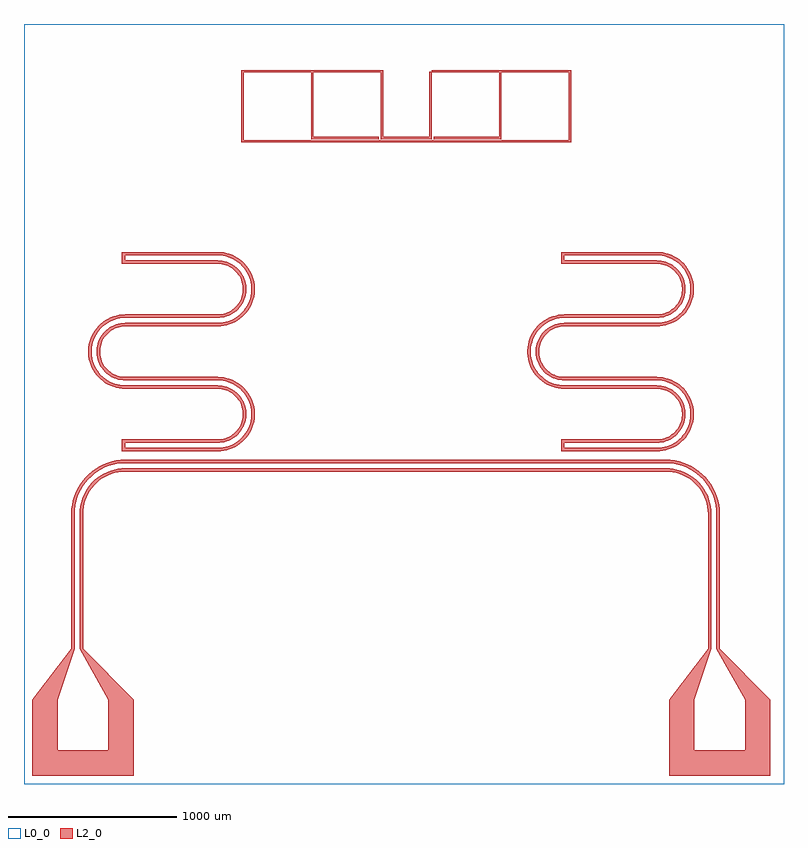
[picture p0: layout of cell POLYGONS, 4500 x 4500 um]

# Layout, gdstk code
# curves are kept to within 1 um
import gdstk
lib = gdstk.Library(unit=1e-6, precision=1e-09)
def R(c, l, rs):  # rectangles x0, y0, x1, y1
    for r in rs: c.add(gdstk.rectangle(r[:2], r[2:], *l))
def P(c, l, *ps):  # polygons
    for p in ps: c.add(gdstk.Polygon(p, *l))
L0_0 = (0, 0)
L2_0 = (2, 0)

polygons = lib.new_cell('POLYGONS')
R(polygons, L0_0, [(0,0,4500,4500)])
R(polygons, L2_0, [(50,50,650,200), (3820,50,4420,200), (50,200,200,500), (500,200,650,500), (3820,200,3970,500), (4270,200,4420,500), (280,800,300,1600), (330,800,350,1600), (4050,800,4070,1600), (4100,800,4120,1600), (600,1850,3800,1870), (600,1900,3800,1920), (580,1970,600,2040), (600,1970,1146.433,1990), (3180,1970,3200,2040), (3200,1970,3746.433,1990), (600,2020,1146.433,2040), (3200,2020,3746.433,2040), (600,2340,1146.433,2360), (3200,2340,3746.433,2360), (600,2390,1146.433,2410), (3200,2390,3746.433,2410), (600,2710,1146.433,2730), (3200,2710,3746.433,2730), (600,2760,1146.433,2780), (3200,2760,3746.433,2780), (580,3080,600,3150), (600,3080,1146.433,3100), (3180,3080,3200,3150), (3200,3080,3746.433,3100), (600,3130,1146.433,3150), (3200,3130,3746.433,3150), (1287,3800,3239,3813), (1287,3813,1300,4213), (3226,3813,3239,4218), (1700,3818,1713,4213), (1713,3818,2100,3831), (2113,3818,2126,4218), (2126,3818,2400,3831), (2400,3818,2413,4218), (2426,3818,2813,3831), (2813,3818,2826,4218), (1287,4213,2126,4226), (2413,4213,3239,4226)])
P(polygons, L2_0, [(50,500),(200,500),(300,800),(280,800)],
  [(500,500),(650,500),(350,800),(330,800)],
  [(600,1850),(558.851,1846.59),(518.825,1836.454),(499.576,1828.943),(463.263,1809.292),(430.68,1783.931),(416.069,1769.32),(390.708,1736.737),(371.057,1700.424),(357.65,1661.371),(350.854,1620.645),(350,1600),(330,1600),(333.682,1644.441),(344.629,1687.669),(352.741,1708.458),(373.965,1747.676),(386.932,1765.837),(417.134,1798.645),(452.324,1826.035),(471.494,1837.458),(512.331,1855.371),(533.719,1861.738),(555.559,1866.318),(600,1870)],
  [(600,1900),(575.226,1898.975),(550.622,1895.908),(526.354,1890.82),(502.59,1883.745),(479.491,1874.732),(457.216,1863.842),(435.916,1851.15),(415.736,1836.742),(396.816,1820.717),(379.283,1803.184),(363.258,1784.264),(348.85,1764.084),(336.158,1742.784),(325.268,1720.509),(316.255,1697.41),(309.18,1673.646),(304.092,1649.378),(301.025,1624.774),(300,1600),(280,1600),(281.093,1626.425),(284.364,1652.67),(289.792,1678.555),(297.338,1703.904),(306.953,1728.543),(318.568,1752.303),(332.107,1775.023),(347.475,1796.548),(364.568,1816.73),(383.27,1835.432),(403.452,1852.525),(424.977,1867.893),(447.697,1881.432),(471.457,1893.047),(496.096,1902.662),(521.445,1910.208),(547.33,1915.636),(573.575,1918.907),(600,1920)],
  [(4050,1600),(4046.59,1641.149),(4036.454,1681.175),(4028.943,1700.424),(4009.292,1736.737),(3983.931,1769.32),(3969.32,1783.931),(3936.737,1809.292),(3900.424,1828.943),(3861.371,1842.35),(3820.645,1849.146),(3800,1850),(3800,1870),(3844.441,1866.318),(3887.669,1855.371),(3908.458,1847.259),(3947.676,1826.035),(3965.837,1813.068),(3998.645,1782.866),(4026.035,1747.676),(4037.458,1728.506),(4055.371,1687.669),(4061.738,1666.281),(4066.318,1644.441),(4070,1600)],
  [(4100,1600),(4098.975,1624.774),(4095.908,1649.378),(4090.82,1673.646),(4083.745,1697.41),(4074.732,1720.509),(4063.842,1742.784),(4051.15,1764.084),(4036.742,1784.264),(4020.717,1803.184),(4003.184,1820.717),(3984.264,1836.742),(3964.084,1851.15),(3942.784,1863.842),(3920.509,1874.732),(3897.41,1883.745),(3873.646,1890.82),(3849.378,1895.908),(3824.774,1898.975),(3800,1900),(3800,1920),(3826.425,1918.907),(3852.67,1915.636),(3878.555,1910.208),(3903.904,1902.662),(3928.543,1893.047),(3952.303,1881.432),(3975.023,1867.893),(3996.548,1852.525),(4016.73,1835.432),(4035.432,1816.73),(4052.525,1796.548),(4067.893,1775.023),(4081.432,1752.303),(4093.047,1728.543),(4102.662,1703.904),(4110.208,1678.555),(4115.636,1652.67),(4118.907,1626.425),(4120,1600)],
  [(3820,500),(3970,500),(4070,800),(4050,800)],
  [(4270,500),(4420,500),(4120,800),(4100,800)],
  [(1146.433,2040),(1170.494,2041.942),(1205.228,2052.003),(1226.602,2063.221),(1254.613,2086.091),(1269.88,2104.79),(1286.685,2136.809),(1293.401,2159.996),(1296.311,2183.96),(1295.339,2208.081),(1286.685,2243.191),(1276.336,2265),(1262.623,2284.867),(1236.544,2309.916),(1205.228,2327.997),(1170.494,2338.058),(1146.433,2340),(1146.433,2360),(1173.702,2357.799),(1187.116,2355.06),(1213.067,2346.397),(1225.435,2340.528),(1248.559,2325.905),(1269.037,2307.763),(1286.34,2286.571),(1300.019,2262.878),(1309.721,2237.297),(1312.997,2224.004),(1316.295,2196.845),(1316.295,2183.155),(1312.997,2155.996),(1309.721,2142.703),(1300.019,2117.122),(1286.34,2093.429),(1269.037,2072.237),(1259.163,2062.753),(1237.292,2046.318),(1213.067,2033.603),(1187.116,2024.94),(1173.702,2022.201),(1146.433,2020)],
  [(1146.433,1990),(1178.515,1992.59),(1194.296,1995.812),(1224.826,2006.004),(1253.326,2020.962),(1266.581,2030.111),(1290.673,2051.455),(1311.029,2076.387),(1327.123,2104.261),(1333.436,2119.079),(1342.391,2149.995),(1346.27,2181.947),(1346.27,2198.053),(1342.391,2230.005),(1333.436,2260.921),(1319.638,2290),(1301.354,2316.489),(1290.673,2328.545),(1266.581,2349.889),(1253.326,2359.038),(1224.826,2373.996),(1194.296,2384.188),(1178.515,2387.41),(1146.433,2390),(1146.433,2410),(1181.723,2407.151),(1216.1,2398.678),(1248.672,2384.8),(1264.015,2375.942),(1292.32,2354.672),(1316.846,2329.138),(1336.958,2300),(1345.192,2284.312),(1357.747,2251.208),(1361.987,2234.006),(1366.254,2198.859),(1364.829,2163.482),(1361.987,2145.994),(1357.747,2128.792),(1345.192,2095.688),(1336.958,2080),(1316.846,2050.862),(1292.32,2025.328),(1264.015,2004.058),(1248.672,1995.2),(1216.1,1981.322),(1199.082,1976.393),(1164.135,1970.713),(1146.433,1970)],
  [(600,2710),(575.938,2708.058),(541.205,2697.997),(519.83,2686.779),(491.82,2663.909),(476.552,2645.21),(464.482,2624.304),(453.031,2590.004),(450.122,2566.04),(451.094,2541.919),(455.922,2518.267),(464.482,2495.696),(483.809,2465.133),(509.889,2440.084),(541.205,2422.003),(575.938,2411.942),(600,2410),(600,2390),(572.73,2392.201),(559.316,2394.94),(533.366,2403.603),(509.141,2416.318),(487.269,2432.753),(468.317,2452.484),(460.093,2463.429),(446.413,2487.122),(436.712,2512.703),(431.239,2539.509),(430.138,2553.155),(431.239,2580.491),(433.436,2594.004),(441.047,2620.283),(446.413,2632.878),(460.093,2656.571),(468.317,2667.516),(487.269,2687.247),(497.874,2695.905),(520.997,2710.528),(546.166,2721.251),(572.73,2727.799),(600,2730)],
  [(600,2760),(567.918,2757.41),(536.666,2749.707),(521.607,2743.996),(493.107,2729.038),(467.375,2709.702),(445.079,2686.489),(435.403,2673.613),(419.31,2645.739),(407.896,2615.643),(401.458,2584.107),(400.162,2568.053),(401.458,2535.893),(407.896,2504.357),(419.31,2474.261),(435.403,2446.387),(445.079,2433.511),(467.375,2410.298),(479.852,2400.111),(507.055,2382.909),(521.607,2376.004),(552.137,2365.812),(567.918,2362.59),(600,2360),(600,2340),(564.71,2342.849),(530.333,2351.322),(513.767,2357.605),(482.418,2374.058),(454.113,2395.328),(441.335,2407.601),(429.587,2420.862),(409.474,2450),(394.296,2481.987),(384.446,2515.994),(380.178,2551.141),(380.178,2568.859),(384.446,2604.006),(394.296,2638.013),(409.474,2670),(418.944,2684.974),(441.335,2712.399),(454.113,2724.672),(482.418,2745.942),(497.761,2754.8),(530.333,2768.678),(547.351,2773.607),(582.297,2779.287),(600,2780)],
  [(1146.433,2780),(1170.494,2781.942),(1205.228,2792.003),(1226.602,2803.221),(1254.613,2826.091),(1269.88,2844.79),(1286.685,2876.809),(1293.401,2899.996),(1296.311,2923.96),(1295.339,2948.081),(1286.685,2983.191),(1276.336,3005),(1262.623,3024.867),(1236.544,3049.916),(1205.228,3067.997),(1170.494,3078.058),(1146.433,3080),(1146.433,3100),(1173.702,3097.799),(1187.116,3095.06),(1213.067,3086.397),(1225.435,3080.528),(1248.559,3065.905),(1269.037,3047.763),(1286.34,3026.571),(1300.019,3002.878),(1309.721,2977.297),(1312.997,2964.004),(1316.295,2936.845),(1316.295,2923.155),(1312.997,2895.996),(1309.721,2882.703),(1300.019,2857.122),(1286.34,2833.429),(1269.037,2812.237),(1259.163,2802.753),(1237.292,2786.318),(1213.067,2773.603),(1187.116,2764.94),(1173.702,2762.201),(1146.433,2760)],
  [(1146.433,2730),(1178.515,2732.59),(1194.296,2735.812),(1224.826,2746.004),(1253.326,2760.962),(1266.581,2770.111),(1290.673,2791.455),(1311.029,2816.387),(1327.123,2844.261),(1333.436,2859.079),(1342.391,2889.995),(1346.27,2921.947),(1346.27,2938.053),(1342.391,2970.005),(1333.436,3000.921),(1319.638,3030),(1301.354,3056.489),(1290.673,3068.545),(1266.581,3089.889),(1253.326,3099.038),(1224.826,3113.996),(1194.296,3124.188),(1178.515,3127.41),(1146.433,3130),(1146.433,3150),(1181.723,3147.151),(1216.1,3138.678),(1248.672,3124.8),(1264.015,3115.942),(1292.32,3094.672),(1316.846,3069.138),(1336.958,3040),(1345.192,3024.312),(1357.747,2991.208),(1361.987,2974.006),(1366.254,2938.859),(1364.829,2903.482),(1361.987,2885.994),(1357.747,2868.792),(1345.192,2835.688),(1336.958,2820),(1316.846,2790.862),(1292.32,2765.328),(1264.015,2744.058),(1248.672,2735.2),(1216.1,2721.322),(1199.082,2716.393),(1164.135,2710.713),(1146.433,2710)],
  [(3746.433,2040),(3770.494,2041.942),(3805.228,2052.003),(3826.602,2063.221),(3854.613,2086.091),(3869.88,2104.79),(3886.685,2136.809),(3893.401,2159.996),(3896.311,2183.96),(3895.339,2208.081),(3886.685,2243.191),(3876.336,2265),(3862.623,2284.867),(3836.544,2309.916),(3805.228,2327.997),(3770.494,2338.058),(3746.433,2340),(3746.433,2360),(3773.702,2357.799),(3787.116,2355.06),(3813.067,2346.397),(3825.435,2340.528),(3848.559,2325.905),(3869.037,2307.763),(3886.34,2286.571),(3900.019,2262.878),(3909.721,2237.297),(3912.997,2224.004),(3916.295,2196.845),(3916.295,2183.155),(3912.997,2155.996),(3909.721,2142.703),(3900.019,2117.122),(3886.34,2093.429),(3869.037,2072.237),(3859.163,2062.753),(3837.292,2046.318),(3813.067,2033.603),(3787.116,2024.94),(3773.702,2022.201),(3746.433,2020)],
  [(3746.433,1990),(3778.515,1992.59),(3794.296,1995.812),(3824.826,2006.004),(3853.326,2020.962),(3866.581,2030.111),(3890.673,2051.455),(3911.029,2076.387),(3927.123,2104.261),(3933.436,2119.079),(3942.391,2149.995),(3946.27,2181.947),(3946.27,2198.053),(3942.391,2230.005),(3933.436,2260.921),(3919.638,2290),(3901.354,2316.489),(3890.673,2328.545),(3866.581,2349.889),(3853.326,2359.038),(3824.826,2373.996),(3794.296,2384.188),(3778.515,2387.41),(3746.433,2390),(3746.433,2410),(3781.723,2407.151),(3816.1,2398.678),(3848.672,2384.8),(3864.015,2375.942),(3892.32,2354.672),(3916.846,2329.138),(3936.958,2300),(3945.192,2284.312),(3957.747,2251.208),(3961.987,2234.006),(3966.254,2198.859),(3964.829,2163.482),(3961.987,2145.994),(3957.747,2128.792),(3945.192,2095.688),(3936.958,2080),(3916.846,2050.862),(3892.32,2025.328),(3864.015,2004.058),(3848.672,1995.2),(3816.1,1981.322),(3799.082,1976.393),(3764.135,1970.713),(3746.433,1970)],
  [(3200,2710),(3175.938,2708.058),(3141.205,2697.997),(3119.83,2686.779),(3091.82,2663.909),(3076.552,2645.21),(3064.482,2624.304),(3053.031,2590.004),(3050.122,2566.04),(3051.094,2541.919),(3055.922,2518.267),(3064.482,2495.696),(3083.809,2465.133),(3109.889,2440.084),(3141.205,2422.003),(3175.938,2411.942),(3200,2410),(3200,2390),(3172.73,2392.201),(3159.316,2394.94),(3133.366,2403.603),(3109.141,2416.318),(3087.269,2432.753),(3068.317,2452.484),(3060.093,2463.429),(3046.413,2487.122),(3036.712,2512.703),(3031.239,2539.509),(3030.138,2553.155),(3031.239,2580.491),(3033.436,2594.004),(3041.047,2620.283),(3046.413,2632.878),(3060.093,2656.571),(3068.317,2667.516),(3087.269,2687.247),(3097.874,2695.905),(3120.997,2710.528),(3146.166,2721.251),(3172.73,2727.799),(3200,2730)],
  [(3200,2760),(3167.918,2757.41),(3136.666,2749.707),(3121.607,2743.996),(3093.107,2729.038),(3067.375,2709.702),(3045.079,2686.489),(3035.403,2673.613),(3019.31,2645.739),(3007.896,2615.643),(3001.458,2584.107),(3000.162,2568.053),(3001.458,2535.893),(3007.896,2504.357),(3019.31,2474.261),(3035.403,2446.387),(3045.079,2433.511),(3067.375,2410.298),(3079.852,2400.111),(3107.055,2382.909),(3121.607,2376.004),(3152.137,2365.812),(3167.918,2362.59),(3200,2360),(3200,2340),(3164.71,2342.849),(3130.333,2351.322),(3113.767,2357.605),(3082.418,2374.058),(3054.113,2395.328),(3041.335,2407.601),(3029.587,2420.862),(3009.474,2450),(2994.296,2481.987),(2984.446,2515.994),(2980.178,2551.141),(2980.178,2568.859),(2984.446,2604.006),(2994.296,2638.013),(3009.474,2670),(3018.944,2684.974),(3041.335,2712.399),(3054.113,2724.672),(3082.418,2745.942),(3097.761,2754.8),(3130.333,2768.678),(3147.351,2773.607),(3182.297,2779.287),(3200,2780)],
  [(3746.433,2780),(3770.494,2781.942),(3805.228,2792.003),(3826.602,2803.221),(3854.613,2826.091),(3869.88,2844.79),(3886.685,2876.809),(3893.401,2899.996),(3896.311,2923.96),(3895.339,2948.081),(3886.685,2983.191),(3876.336,3005),(3862.623,3024.867),(3836.544,3049.916),(3805.228,3067.997),(3770.494,3078.058),(3746.433,3080),(3746.433,3100),(3773.702,3097.799),(3787.116,3095.06),(3813.067,3086.397),(3825.435,3080.528),(3848.559,3065.905),(3869.037,3047.763),(3886.34,3026.571),(3900.019,3002.878),(3909.721,2977.297),(3912.997,2964.004),(3916.295,2936.845),(3916.295,2923.155),(3912.997,2895.996),(3909.721,2882.703),(3900.019,2857.122),(3886.34,2833.429),(3869.037,2812.237),(3859.163,2802.753),(3837.292,2786.318),(3813.067,2773.603),(3787.116,2764.94),(3773.702,2762.201),(3746.433,2760)],
  [(3746.433,2730),(3778.515,2732.59),(3794.296,2735.812),(3824.826,2746.004),(3853.326,2760.962),(3866.581,2770.111),(3890.673,2791.455),(3911.029,2816.387),(3927.123,2844.261),(3933.436,2859.079),(3942.391,2889.995),(3946.27,2921.947),(3946.27,2938.053),(3942.391,2970.005),(3933.436,3000.921),(3919.638,3030),(3901.354,3056.489),(3890.673,3068.545),(3866.581,3089.889),(3853.326,3099.038),(3824.826,3113.996),(3794.296,3124.188),(3778.515,3127.41),(3746.433,3130),(3746.433,3150),(3781.723,3147.151),(3816.1,3138.678),(3848.672,3124.8),(3864.015,3115.942),(3892.32,3094.672),(3916.846,3069.138),(3936.958,3040),(3945.192,3024.312),(3957.747,2991.208),(3961.987,2974.006),(3966.254,2938.859),(3964.829,2903.482),(3961.987,2885.994),(3957.747,2868.792),(3945.192,2835.688),(3936.958,2820),(3916.846,2790.862),(3892.32,2765.328),(3864.015,2744.058),(3848.672,2735.2),(3816.1,2721.322),(3799.082,2716.393),(3764.135,2710.713),(3746.433,2710)])

lib.write_gds('POLYGONS.gds')
